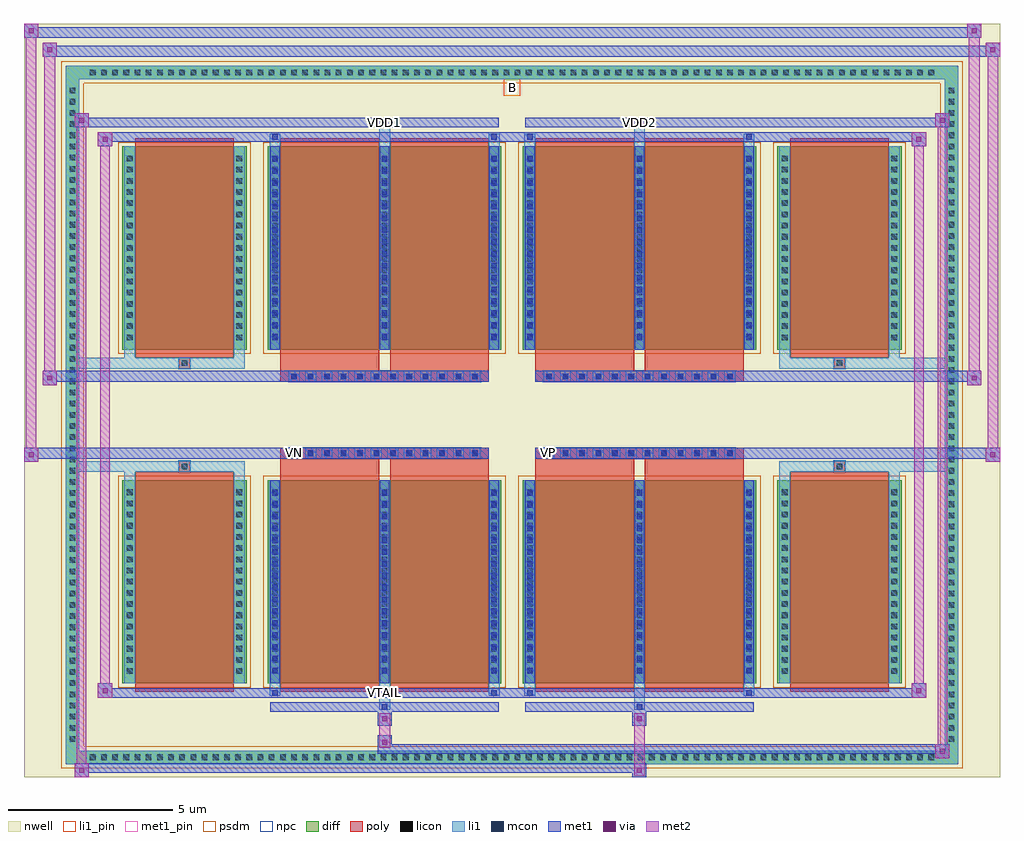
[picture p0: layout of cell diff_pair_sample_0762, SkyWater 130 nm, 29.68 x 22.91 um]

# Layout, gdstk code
import gdstk
lib = gdstk.Library(unit=1e-6, precision=5e-09)
def R(c, l, rs):  # rectangles x0, y0, x1, y1
    for r in rs: c.add(gdstk.rectangle(r[:2], r[2:], *l))
def A(c, l, x, y, w, h, nx, ny, dx, dy):  # array of equal rectangles
    R(c, l, [(x+i*dx, y+j*dy, x+i*dx+w, y+j*dy+h) for i in range(nx) for j in range(ny)])
def P(c, l, *ps):  # polygons
    for p in ps: c.add(gdstk.Polygon(p, *l))
nwell = (64, 20)
diff = (65, 20)
poly = (66, 20)
licon = (66, 44)
li1_pin = (67, 16)
li1 = (67, 20)
mcon = (67, 44)
met1_pin = (68, 16)
met1 = (68, 20)
via = (68, 44)
met2 = (69, 20)
psdm = (94, 20)
npc = (95, 20)

diff_pair_sample_0762 = lib.new_cell('diff_pair_sample_0762')
R(diff_pair_sample_0762, nwell, [(-14.84,-11.02,14.84,11.89), (-12.16,-9.21,-0.01,-0.805), (0.01,-9.21,12.16,-0.805), (-12.16,0.805,-0.01,9.21), (0.01,0.805,12.16,9.21)])
A(diff_pair_sample_0762, diff, -12.955, -10.62, 0.41, 0.41, 76, 2, 0.34, 20.83)
A(diff_pair_sample_0762, diff, -13.57, -10.065, 0.41, 0.41, 1, 59, 0, 0.34)
A(diff_pair_sample_0762, diff, 13.16, -10.065, 0.41, 0.41, 1, 59, 0, 0.34)
R(diff_pair_sample_0762, diff, [(-12.955,-10.62,12.955,-10.21), (-13.57,-10.065,-13.16,10.065), (13.16,-10.065,13.57,10.065), (-11.85,-8.165,-8.07,-1.985), (-7.43,-8.165,-0.32,-1.985), (0.32,-8.165,7.43,-1.985), (8.07,-8.165,11.85,-1.985), (-11.85,1.985,-8.07,8.165), (-7.43,1.985,-0.32,8.165), (0.32,1.985,7.43,8.165), (8.07,1.985,11.85,8.165), (-12.955,10.21,12.955,10.62)])
P(diff_pair_sample_0762, diff, [(13.57,10.62),(-13.57,10.62),(-13.57,-10.21),(-13.16,-10.21),(-13.16,10.21),(13.16,10.21),(13.16,-10.21),(-13.16,-10.21),(-13.57,-10.21),(-13.57,-10.62),(13.57,-10.62)])
A(diff_pair_sample_0762, poly, -6.79, -1.335, 0.33, 0.33, 12, 2, 0.5, 2.34)
A(diff_pair_sample_0762, poly, 0.96, -1.335, 0.33, 0.33, 12, 2, 0.5, 2.34)
R(diff_pair_sample_0762, poly, [(-11.46,-8.415,-8.46,-1.735), (-7.04,-8.415,-4.04,-1.735), (-3.71,-8.415,-0.71,-1.735), (0.71,-8.415,3.71,-1.735), (4.04,-8.415,7.04,-1.735), (8.46,-8.415,11.46,-1.735), (-10.125,-1.735,-9.795,-1.405), (-10.125,-1.735,-9.795,-1.405), (-7.04,-1.735,-4.04,-1.335), (-3.71,-1.735,-0.71,-1.335), (0.71,-1.735,3.71,-1.335), (4.04,-1.735,7.04,-1.335), (9.795,-1.735,10.125,-1.405), (9.795,-1.735,10.125,-1.405), (-7.04,-1.335,-0.71,-1.005), (0.71,-1.335,7.04,-1.005), (-7.04,1.005,-0.71,1.335), (0.71,1.005,7.04,1.335), (-7.04,1.335,-4.04,1.735), (-3.71,1.335,-0.71,1.735), (0.71,1.335,3.71,1.735), (4.04,1.335,7.04,1.735), (-10.125,1.405,-9.795,1.735), (-10.125,1.405,-9.795,1.735), (9.795,1.405,10.125,1.735), (9.795,1.405,10.125,1.735), (-11.46,1.735,-8.46,8.415), (-7.04,1.735,-4.04,8.415), (-3.71,1.735,-0.71,8.415), (0.71,1.735,3.71,8.415), (4.04,1.735,7.04,8.415), (8.46,1.735,11.46,8.415)])
A(diff_pair_sample_0762, licon, -12.835, -10.5, 0.17, 0.17, 76, 2, 0.34, 20.83)
A(diff_pair_sample_0762, licon, -13.45, -9.945, 0.17, 0.17, 1, 59, 0, 0.34)
A(diff_pair_sample_0762, licon, 13.28, -9.945, 0.17, 0.17, 1, 59, 0, 0.34)
A(diff_pair_sample_0762, licon, -11.71, -7.88, 0.17, 0.17, 1, 17, 0, 0.34)
A(diff_pair_sample_0762, licon, -8.38, -7.88, 0.17, 0.17, 1, 17, 0, 0.34)
A(diff_pair_sample_0762, licon, -7.29, -7.88, 0.17, 0.17, 3, 17, 3.33, 0.34)
A(diff_pair_sample_0762, licon, 0.46, -7.88, 0.17, 0.17, 3, 17, 3.33, 0.34)
A(diff_pair_sample_0762, licon, 8.21, -7.88, 0.17, 0.17, 1, 17, 0, 0.34)
A(diff_pair_sample_0762, licon, 11.54, -7.88, 0.17, 0.17, 1, 17, 0, 0.34)
A(diff_pair_sample_0762, licon, -6.71, -1.255, 0.17, 0.17, 12, 2, 0.5, 2.34)
A(diff_pair_sample_0762, licon, 1.04, -1.255, 0.17, 0.17, 12, 2, 0.5, 2.34)
A(diff_pair_sample_0762, licon, -11.71, 2.27, 0.17, 0.17, 1, 17, 0, 0.34)
A(diff_pair_sample_0762, licon, -8.38, 2.27, 0.17, 0.17, 1, 17, 0, 0.34)
A(diff_pair_sample_0762, licon, -7.29, 2.27, 0.17, 0.17, 3, 17, 3.33, 0.34)
A(diff_pair_sample_0762, licon, 0.46, 2.27, 0.17, 0.17, 3, 17, 3.33, 0.34)
A(diff_pair_sample_0762, licon, 8.21, 2.27, 0.17, 0.17, 1, 17, 0, 0.34)
A(diff_pair_sample_0762, licon, 11.54, 2.27, 0.17, 0.17, 1, 17, 0, 0.34)
R(diff_pair_sample_0762, licon, [(-10.045,-1.655,-9.875,-1.485), (9.875,-1.655,10.045,-1.485), (-10.045,1.485,-9.875,1.655), (9.875,1.485,10.045,1.655)])
R(diff_pair_sample_0762, li1_pin, [(-0.25,9.71,0.25,10.21)])
A(diff_pair_sample_0762, li1, -12.915, -10.58, 0.33, 0.33, 76, 2, 0.34, 20.83)
A(diff_pair_sample_0762, li1, -13.53, -10.025, 0.33, 0.33, 1, 59, 0, 0.34)
A(diff_pair_sample_0762, li1, 13.2, -10.025, 0.33, 0.33, 1, 59, 0, 0.34)
A(diff_pair_sample_0762, li1, -7.37, -8.165, 0.33, 6.18, 3, 2, 3.33, 10.15)
A(diff_pair_sample_0762, li1, 0.38, -8.165, 0.33, 6.18, 3, 2, 3.33, 10.15)
A(diff_pair_sample_0762, li1, -11.79, -7.96, 0.33, 0.33, 1, 17, 0, 0.34)
A(diff_pair_sample_0762, li1, -8.46, -7.96, 0.33, 0.33, 1, 17, 0, 0.34)
A(diff_pair_sample_0762, li1, -7.37, -7.96, 0.33, 0.33, 3, 17, 3.33, 0.34)
A(diff_pair_sample_0762, li1, 0.38, -7.96, 0.33, 0.33, 3, 17, 3.33, 0.34)
A(diff_pair_sample_0762, li1, 8.13, -7.96, 0.33, 0.33, 1, 17, 0, 0.34)
A(diff_pair_sample_0762, li1, 11.46, -7.96, 0.33, 0.33, 1, 17, 0, 0.34)
A(diff_pair_sample_0762, li1, -7.29, -7.86, 0.17, 0.17, 3, 16, 3.33, 0.36)
A(diff_pair_sample_0762, li1, -7.29, -7.86, 0.17, 5.57, 3, 2, 3.33, 10.15)
A(diff_pair_sample_0762, li1, 0.46, -7.86, 0.17, 0.17, 3, 16, 3.33, 0.36)
A(diff_pair_sample_0762, li1, 0.46, -7.86, 0.17, 5.57, 3, 2, 3.33, 10.15)
A(diff_pair_sample_0762, li1, -6.79, -1.335, 0.33, 0.33, 12, 2, 0.5, 2.34)
A(diff_pair_sample_0762, li1, 0.96, -1.335, 0.33, 0.33, 12, 2, 0.5, 2.34)
A(diff_pair_sample_0762, li1, -11.79, 2.19, 0.33, 0.33, 1, 17, 0, 0.34)
A(diff_pair_sample_0762, li1, -8.46, 2.19, 0.33, 0.33, 1, 17, 0, 0.34)
A(diff_pair_sample_0762, li1, -7.37, 2.19, 0.33, 0.33, 3, 17, 3.33, 0.34)
A(diff_pair_sample_0762, li1, 0.38, 2.19, 0.33, 0.33, 3, 17, 3.33, 0.34)
A(diff_pair_sample_0762, li1, 8.13, 2.19, 0.33, 0.33, 1, 17, 0, 0.34)
A(diff_pair_sample_0762, li1, 11.46, 2.19, 0.33, 0.33, 1, 17, 0, 0.34)
A(diff_pair_sample_0762, li1, -7.29, 2.29, 0.17, 0.17, 3, 16, 3.33, 0.36)
A(diff_pair_sample_0762, li1, 0.46, 2.29, 0.17, 0.17, 3, 16, 3.33, 0.36)
R(diff_pair_sample_0762, li1, [(-13.57,-10.62,-13.16,-10.21), (-13.57,-10.62,-13.16,-10.21), (-13.16,-10.62,13.16,-10.21), (13.16,-10.62,13.57,-10.21), (13.16,-10.62,13.57,-10.21), (-13.57,-10.21,-13.16,10.21), (13.16,-10.21,13.57,10.21), (-4.04,-8.97,-3.71,-8.165), (-3.96,-8.97,-3.79,-8.8), (3.71,-8.97,4.04,-8.165), (3.79,-8.97,3.96,-8.8), (-7.37,-8.54,-7.04,-8.165), (-7.29,-8.54,-7.12,-8.37), (-0.71,-8.54,-0.38,-8.165), (-0.63,-8.54,-0.46,-8.37), (0.38,-8.54,0.71,-8.165), (0.46,-8.54,0.63,-8.37), (7.04,-8.54,7.37,-8.165), (7.12,-8.54,7.29,-8.37), (-11.79,-8.165,-11.46,-1.985), (-8.46,-8.165,-8.13,-1.985), (8.13,-8.165,8.46,-1.985), (11.46,-8.165,11.79,-1.985), (-11.79,-1.985,-11.46,-1.405), (-8.46,-1.985,-8.13,-1.405), (8.13,-1.985,8.46,-1.405), (11.46,-1.985,11.79,-1.405), (-13.57,-1.735,-10.125,-1.405), (-11.79,-1.735,-10.125,-1.405), (-10.125,-1.735,-9.795,-1.405), (-9.795,-1.735,-8.13,-1.405), (8.13,-1.735,9.795,-1.405), (9.795,-1.735,10.125,-1.405), (9.795,-1.735,13.57,-1.405), (10.125,-1.735,11.79,-1.405), (-13.57,1.405,-10.125,1.735), (-11.79,1.405,-10.125,1.735), (-11.79,1.405,-11.46,1.985), (-10.125,1.405,-9.795,1.735), (-9.795,1.405,-8.13,1.735), (-8.46,1.405,-8.13,1.985), (8.13,1.405,9.795,1.735), (8.13,1.405,8.46,1.985), (9.795,1.405,10.125,1.735), (9.795,1.405,13.57,1.735), (10.125,1.405,11.79,1.735), (11.46,1.405,11.79,1.985), (-11.79,1.985,-11.46,8.165), (-8.46,1.985,-8.13,8.165), (8.13,1.985,8.46,8.165), (11.46,1.985,11.79,8.165), (-7.37,8.165,-7.04,8.54), (-4.04,8.165,-3.71,8.97), (-0.71,8.165,-0.38,8.54), (0.38,8.165,0.71,8.54), (3.71,8.165,4.04,8.97), (7.04,8.165,7.37,8.54), (-7.29,8.37,-7.12,8.54), (-0.63,8.37,-0.46,8.54), (0.46,8.37,0.63,8.54), (7.12,8.37,7.29,8.54), (-3.96,8.8,-3.79,8.97), (3.79,8.8,3.96,8.97), (-13.57,10.21,-13.16,10.62), (-13.57,10.21,-13.16,10.62), (-13.16,10.21,13.16,10.62), (13.16,10.21,13.57,10.62), (13.16,10.21,13.57,10.62)])
A(diff_pair_sample_0762, mcon, -7.29, -7.86, 0.17, 0.17, 3, 16, 3.33, 0.36)
A(diff_pair_sample_0762, mcon, 0.46, -7.86, 0.17, 0.17, 3, 16, 3.33, 0.36)
A(diff_pair_sample_0762, mcon, -6.71, -1.255, 0.17, 0.17, 12, 2, 0.5, 2.34)
A(diff_pair_sample_0762, mcon, 1.04, -1.255, 0.17, 0.17, 12, 2, 0.5, 2.34)
A(diff_pair_sample_0762, mcon, -7.29, 2.29, 0.17, 0.17, 3, 16, 3.33, 0.36)
A(diff_pair_sample_0762, mcon, 0.46, 2.29, 0.17, 0.17, 3, 16, 3.33, 0.36)
R(diff_pair_sample_0762, mcon, [(-3.96,-8.97,-3.79,-8.8), (3.79,-8.97,3.96,-8.8), (-7.29,-8.54,-7.12,-8.37), (-0.63,-8.54,-0.46,-8.37), (0.46,-8.54,0.63,-8.37), (7.12,-8.54,7.29,-8.37), (-7.29,8.37,-7.12,8.54), (-0.63,8.37,-0.46,8.54), (0.46,8.37,0.63,8.54), (7.12,8.37,7.29,8.54), (-3.96,8.8,-3.79,8.97), (3.79,8.8,3.96,8.97)])
R(diff_pair_sample_0762, met1_pin, [(-4.01,-8.58,-3.74,-8.31), (-6.76,-1.295,-6.49,-1.025), (0.99,-1.295,1.26,-1.025), (-4.01,8.76,-3.74,9.03), (3.74,8.76,4.01,9.03)])
A(diff_pair_sample_0762, met1, -7.35, -8.165, 0.29, 6.18, 3, 2, 3.33, 10.15)
A(diff_pair_sample_0762, met1, 0.4, -8.165, 0.29, 6.18, 3, 2, 3.33, 10.15)
A(diff_pair_sample_0762, met1, -7.35, -7.92, 0.29, 0.29, 3, 16, 3.33, 0.36)
A(diff_pair_sample_0762, met1, 0.4, -7.92, 0.29, 0.29, 3, 16, 3.33, 0.36)
A(diff_pair_sample_0762, met1, -6.77, -1.315, 0.29, 0.29, 12, 2, 0.5, 2.34)
A(diff_pair_sample_0762, met1, 0.98, -1.315, 0.29, 0.29, 12, 2, 0.5, 2.34)
A(diff_pair_sample_0762, met1, -7.35, 2.23, 0.29, 0.29, 3, 16, 3.33, 0.36)
A(diff_pair_sample_0762, met1, 0.4, 2.23, 0.29, 0.29, 3, 16, 3.33, 0.36)
R(diff_pair_sample_0762, met1, [(-13.3,-11.02,-12.87,-10.59), (3.66,-11.02,4.09,-10.59), (-13.3,-10.88,4.09,-10.59), (12.87,-10.45,13.3,-10.02), (-4.09,-10.31,13.3,-10.02), (-4.09,-10.17,-3.66,-9.74), (-4.09,-9.46,-3.66,-9.03), (3.66,-9.46,4.09,-9.03), (-7.35,-9.03,-0.4,-8.74), (-4.02,-9.03,-3.73,-8.74), (0.4,-9.03,7.35,-8.74), (3.73,-9.03,4.02,-8.74), (-12.59,-8.6,-12.16,-8.17), (-12.59,-8.6,-7.35,-8.31), (-7.35,-8.6,-7.06,-8.31), (-7.35,-8.6,-0.4,-8.31), (-0.69,-8.6,-0.4,-8.31), (-0.4,-8.6,0.4,-8.31), (0.4,-8.6,0.69,-8.31), (0.4,-8.6,7.35,-8.31), (7.06,-8.6,7.35,-8.31), (7.35,-8.6,12.59,-8.31), (12.16,-8.6,12.59,-8.17), (-14.84,-1.435,-14.41,-1.005), (14.41,-1.435,14.84,-1.005), (-14.84,-1.335,-0.71,-1.005), (-7.04,-1.335,-0.71,-1.005), (0.71,-1.335,7.04,-1.005), (0.71,-1.335,14.84,-1.005), (-14.27,0.905,-13.84,1.335), (13.84,0.905,14.27,1.335), (-14.27,1.005,-7.04,1.335), (-7.04,1.005,-0.71,1.335), (0.71,1.005,7.04,1.335), (7.04,1.005,14.27,1.335), (-12.59,8.17,-12.16,8.6), (12.16,8.17,12.59,8.6), (-12.59,8.31,-7.35,8.6), (-7.35,8.31,-7.06,8.6), (-7.35,8.31,-0.4,8.6), (-0.69,8.31,-0.4,8.6), (-0.4,8.31,0.4,8.6), (0.4,8.31,0.69,8.6), (0.4,8.31,7.35,8.6), (7.06,8.31,7.35,8.6), (7.35,8.31,12.59,8.6), (-13.3,8.74,-12.87,9.17), (-13.3,8.74,-7.35,9.03), (-7.35,8.74,-0.4,9.03), (-4.02,8.74,-3.73,9.03), (0.4,8.74,7.35,9.03), (3.73,8.74,4.02,9.03), (7.35,8.74,13.3,9.03), (12.87,8.74,13.3,9.17), (-14.27,10.89,-13.84,11.32), (-14.27,10.89,-12.16,11.22), (-12.16,10.89,12.16,11.22), (12.16,10.89,14.84,11.22), (14.41,10.89,14.84,11.32), (-14.84,11.46,-14.41,11.89), (-14.84,11.46,-12.16,11.79), (-12.16,11.46,12.16,11.79), (12.16,11.46,14.27,11.79), (13.84,11.46,14.27,11.89)])
R(diff_pair_sample_0762, via, [(-13.16,-10.88,-13.01,-10.73), (3.8,-10.88,3.95,-10.73), (13.01,-10.31,13.16,-10.16), (-3.95,-10.03,-3.8,-9.88), (-3.95,-9.32,-3.8,-9.17), (3.8,-9.32,3.95,-9.17), (-12.45,-8.46,-12.3,-8.31), (12.3,-8.46,12.45,-8.31), (-14.7,-1.295,-14.55,-1.145), (14.55,-1.295,14.7,-1.145), (-14.13,1.045,-13.98,1.195), (13.98,1.045,14.13,1.195), (-12.45,8.31,-12.3,8.46), (12.3,8.31,12.45,8.46), (-13.16,8.88,-13.01,9.03), (13.01,8.88,13.16,9.03), (-14.13,11.03,-13.98,11.18), (14.55,11.03,14.7,11.18), (-14.7,11.6,-14.55,11.75), (13.98,11.6,14.13,11.75)])
R(diff_pair_sample_0762, met2, [(-13.3,-11.02,-12.87,-10.59), (-13.23,-11.02,-12.94,9.17), (-12.94,-11.02,-12.87,-10.59), (-13.25,-10.97,-12.92,-10.64), (3.71,-10.97,4.04,-10.64), (3.71,-10.64,4.04,-9.41), (12.87,-10.45,13.3,-10.02), (12.94,-10.45,13.23,9.17), (13.23,-10.45,13.3,-10.02), (12.92,-10.4,13.25,-10.07), (-4.04,-10.12,-3.71,-9.79), (-4.04,-9.79,-3.71,-9.41), (-4.04,-9.41,-3.71,-9.08), (3.71,-9.41,4.04,-9.08), (-12.59,-8.6,-12.16,-8.17), (-12.52,-8.6,-12.23,8.6), (-12.23,-8.6,-12.16,-8.17), (12.16,-8.6,12.59,-8.17), (12.23,-8.6,12.52,8.6), (12.52,-8.6,12.59,-8.17), (-12.54,-8.55,-12.21,-8.22), (12.21,-8.55,12.54,-8.22), (-14.84,-1.435,-14.41,-1.005), (-14.79,-1.435,-14.46,11.89), (-14.46,-1.435,-14.41,-1.005), (14.41,-1.435,14.84,-1.005), (14.46,-1.435,14.79,11.32), (14.79,-1.435,14.84,-1.005), (-14.79,-1.385,-14.46,-1.055), (14.46,-1.385,14.79,-1.055), (-14.27,0.905,-13.84,1.335), (-14.22,0.905,-13.89,11.32), (-13.89,0.905,-13.84,1.335), (13.84,0.905,14.27,1.335), (13.89,0.905,14.22,11.89), (14.22,0.905,14.27,1.335), (-14.22,0.955,-13.89,1.285), (13.89,0.955,14.22,1.285), (-12.59,8.17,-12.16,8.6), (-12.23,8.17,-12.16,8.6), (12.16,8.17,12.59,8.6), (12.52,8.17,12.59,8.6), (-12.54,8.22,-12.21,8.55), (12.21,8.22,12.54,8.55), (-13.3,8.74,-12.87,9.17), (-12.94,8.74,-12.87,9.17), (12.87,8.74,13.3,9.17), (13.23,8.74,13.3,9.17), (-13.25,8.79,-12.92,9.12), (12.92,8.79,13.25,9.12), (-14.27,10.89,-13.84,11.32), (-13.89,10.89,-13.84,11.32), (14.41,10.89,14.84,11.32), (14.79,10.89,14.84,11.32), (-14.22,10.94,-13.89,11.27), (14.46,10.94,14.79,11.27), (-14.84,11.46,-14.41,11.89), (-14.46,11.46,-14.41,11.89), (13.84,11.46,14.27,11.89), (14.22,11.46,14.27,11.89), (-14.79,11.51,-14.46,11.84), (13.89,11.51,14.22,11.84)])
R(diff_pair_sample_0762, psdm, [(-11.98,-8.295,-7.94,-1.855), (-7.56,-8.295,-0.19,-1.855), (0.19,-8.295,7.56,-1.855), (7.94,-8.295,11.98,-1.855), (-11.98,1.855,-7.94,8.295), (-7.56,1.855,-0.19,8.295), (0.19,1.855,7.56,8.295), (7.94,1.855,11.98,8.295)])
P(diff_pair_sample_0762, psdm, [(13.7,10.75),(-13.7,10.75),(-13.7,-10.08),(-13.03,-10.08),(-13.03,10.08),(13.03,10.08),(13.03,-10.08),(-13.03,-10.08),(-13.7,-10.08),(-13.7,-10.75),(13.7,-10.75)])
A(diff_pair_sample_0762, npc, -6.81, -1.355, 0.37, 0.37, 12, 2, 0.5, 2.34)
A(diff_pair_sample_0762, npc, 0.94, -1.355, 0.37, 0.37, 12, 2, 0.5, 2.34)
R(diff_pair_sample_0762, npc, [(-10.145,-1.755,-9.775,-1.385), (9.775,-1.755,10.145,-1.385), (-6.81,-1.355,-5.94,-0.985), (-6.81,-1.355,-5.94,-0.985), (-6.31,-1.355,-5.44,-0.985), (-6.31,-1.355,-5.44,-0.985), (-5.81,-1.355,-4.94,-0.985), (-5.81,-1.355,-4.94,-0.985), (-5.31,-1.355,-4.44,-0.985), (-5.31,-1.355,-4.44,-0.985), (-4.81,-1.355,-3.94,-0.985), (-4.81,-1.355,-3.94,-0.985), (-4.31,-1.355,-3.44,-0.985), (-4.31,-1.355,-3.44,-0.985), (-3.81,-1.355,-2.94,-0.985), (-3.81,-1.355,-2.94,-0.985), (-3.31,-1.355,-2.44,-0.985), (-3.31,-1.355,-2.44,-0.985), (-2.81,-1.355,-1.94,-0.985), (-2.81,-1.355,-1.94,-0.985), (-2.31,-1.355,-1.44,-0.985), (-2.31,-1.355,-1.44,-0.985), (-1.81,-1.355,-0.94,-0.985), (-1.81,-1.355,-0.94,-0.985), (0.94,-1.355,1.81,-0.985), (0.94,-1.355,1.81,-0.985), (1.44,-1.355,2.31,-0.985), (1.44,-1.355,2.31,-0.985), (1.94,-1.355,2.81,-0.985), (1.94,-1.355,2.81,-0.985), (2.44,-1.355,3.31,-0.985), (2.44,-1.355,3.31,-0.985), (2.94,-1.355,3.81,-0.985), (2.94,-1.355,3.81,-0.985), (3.44,-1.355,4.31,-0.985), (3.44,-1.355,4.31,-0.985), (3.94,-1.355,4.81,-0.985), (3.94,-1.355,4.81,-0.985), (4.44,-1.355,5.31,-0.985), (4.44,-1.355,5.31,-0.985), (4.94,-1.355,5.81,-0.985), (4.94,-1.355,5.81,-0.985), (5.44,-1.355,6.31,-0.985), (5.44,-1.355,6.31,-0.985), (5.94,-1.355,6.81,-0.985), (5.94,-1.355,6.81,-0.985), (-6.81,0.985,-5.94,1.355), (-6.81,0.985,-5.94,1.355), (-6.31,0.985,-5.44,1.355), (-6.31,0.985,-5.44,1.355), (-5.81,0.985,-4.94,1.355), (-5.81,0.985,-4.94,1.355), (-5.31,0.985,-4.44,1.355), (-5.31,0.985,-4.44,1.355), (-4.81,0.985,-3.94,1.355), (-4.81,0.985,-3.94,1.355), (-4.31,0.985,-3.44,1.355), (-4.31,0.985,-3.44,1.355), (-3.81,0.985,-2.94,1.355), (-3.81,0.985,-2.94,1.355), (-3.31,0.985,-2.44,1.355), (-3.31,0.985,-2.44,1.355), (-2.81,0.985,-1.94,1.355), (-2.81,0.985,-1.94,1.355), (-2.31,0.985,-1.44,1.355), (-2.31,0.985,-1.44,1.355), (-1.81,0.985,-0.94,1.355), (-1.81,0.985,-0.94,1.355), (0.94,0.985,1.81,1.355), (0.94,0.985,1.81,1.355), (1.44,0.985,2.31,1.355), (1.44,0.985,2.31,1.355), (1.94,0.985,2.81,1.355), (1.94,0.985,2.81,1.355), (2.44,0.985,3.31,1.355), (2.44,0.985,3.31,1.355), (2.94,0.985,3.81,1.355), (2.94,0.985,3.81,1.355), (3.44,0.985,4.31,1.355), (3.44,0.985,4.31,1.355), (3.94,0.985,4.81,1.355), (3.94,0.985,4.81,1.355), (4.44,0.985,5.31,1.355), (4.44,0.985,5.31,1.355), (4.94,0.985,5.81,1.355), (4.94,0.985,5.81,1.355), (5.44,0.985,6.31,1.355), (5.44,0.985,6.31,1.355), (5.94,0.985,6.81,1.355), (5.94,0.985,6.81,1.355), (-10.145,1.385,-9.775,1.755), (9.775,1.385,10.145,1.755)])
diff_pair_sample_0762.add(gdstk.Label('VTAIL', (-3.875,-8.445), layer=68, texttype=5))
diff_pair_sample_0762.add(gdstk.Label('VN', (-6.625,-1.16), layer=68, texttype=5))
diff_pair_sample_0762.add(gdstk.Label('VP', (1.125,-1.16), layer=68, texttype=5))
diff_pair_sample_0762.add(gdstk.Label('B', (0,9.96), layer=67, texttype=5))
diff_pair_sample_0762.add(gdstk.Label('VDD2', (3.875,8.895), layer=68, texttype=5))
diff_pair_sample_0762.add(gdstk.Label('VDD1', (-3.875,8.895), layer=68, texttype=5))

lib.write_gds('diff_pair_sample_0762.gds')
